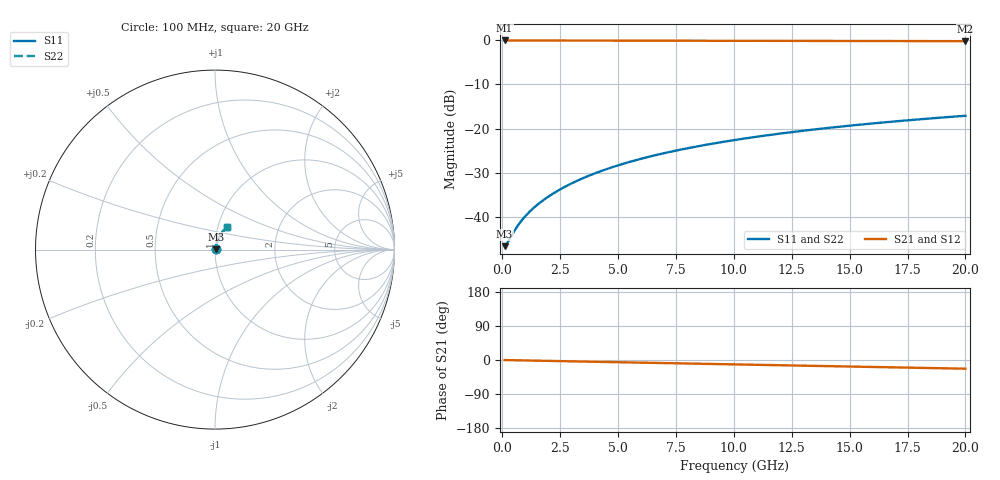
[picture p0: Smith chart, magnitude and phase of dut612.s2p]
! Touchstone file exported from HFSS 2026.1.0
!  File:  C:/ffzhzh/LocalFiles/Ansys_Project_Files/temp_train_BSMRDL_612_1783016256_55676.aedt
!  Generated:  02:18:53 AM Jul  3, 2026
!  Design:  BSMRDL
!  Project:  temp_train_BSMRDL_612_1783016256_55676
! Variables:
!  h_bsmrdl = 2.29um
!  h_ox = 20um
!  h_rdl = 5um
!  h_sub = 80um
!  h_tmrdl = 5um
!  h_tsv = 80um
!  h_via = 3um
!  l_bsmrdl = 379.03um
!  l_sub = 779.03um
!  l_tmrdl = 200um
!  m_sub = 200um
!  pitch = 20.04um
!  r_tsv = 6um
!  s_tmrdl = 10um
!  w_bsmrdl = 13.37um
!  w_sub = 500um
!  w_tmrdl = 12um
!  x_tsv_center1 = 206um
!  x_tsv_center2 = 598.4um
!  x_tsv_center3 = 810.4um
!  x_tsv_center4 = 1202.8um
!  x_tsv_center5 = 1414.8um
!  x_tsv_center6 = 1807.2um
# GHz S MA R 50.000000
! Terminal data exported
! Port[1] = BSM_RDL1_1_T1
! Port[2] = BSM_RDL1_1_T2
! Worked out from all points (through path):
!   200 points, 100 MHz to 20 GHz, reference 50 ohm
!   highest |S21| = -0.04 dB at 100 MHz (marker M1); lowest = -0.2 dB at 20 GHz (marker M2)
!   group delay of S21, straight-line fit = 3.18 ps
!   lowest |S11| = -46.6 dB at 100 MHz (marker M3), VSWR 1.01, Z = 50.5 + j0.0981 ohm
!   |S11| at or under -10 dB: start of sweep to end of sweep
!   |S22| runs from -46.6 to -17.1 dB; largest |S21 - S12| = 2.7e-15
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0.1  0.004691 12.0  0.9954 -0.1  0.9954 -0.1  0.004691 12.0
! Gamma 0 0 0 0
! Port Impedance 50 0 50 0
0.2  0.005036 22.5  0.9953 -0.3  0.9953 -0.3  0.005034 22.5
0.6  0.007513 46.3  0.9948 -0.8  0.9948 -0.8  0.007508 46.3
0.8  0.008912 51.8  0.9945 -1.0  0.9945 -1.0  0.008907 51.8
0.9  0.009607 53.9  0.9944 -1.1  0.9944 -1.1  0.009602 53.9
1.1  0.01098 57.2  0.9942 -1.3  0.9942 -1.3  0.01098 57.2
1.4  0.01302 60.9  0.9939 -1.7  0.9939 -1.7  0.01302 60.9
1.8  0.01575 64.5  0.9936 -2.2  0.9936 -2.2  0.01575 64.5
2.3  0.0192 67.6  0.9934 -2.7  0.9934 -2.7  0.0192 67.6
2.9  0.02341 70.1  0.9931 -3.4  0.9931 -3.4  0.02341 70.1
3.5  0.02769 71.6  0.9928 -4.1  0.9928 -4.1  0.02769 71.6
4.2  0.03272 72.7  0.9925 -4.9  0.9925 -4.9  0.03272 72.7
5  0.0385 73.3  0.9921 -5.9  0.9921 -5.9  0.0385 73.3
5.9  0.045 73.5  0.9915 -6.9  0.9915 -6.9  0.045 73.5
6.8  0.05149 73.4  0.9909 -8.0  0.9909 -8.0  0.05149 73.3
8.3  0.06222 72.6  0.9897 -9.7  0.9897 -9.7  0.06223 72.6
10.1  0.07492 71.3  0.9882 -11.8  0.9882 -11.8  0.07492 71.3
11.7  0.086 70.0  0.9866 -13.6  0.9866 -13.6  0.08601 69.9
13.4  0.09755 68.4  0.9848 -15.5  0.9848 -15.5  0.09756 68.3
15  0.1082 66.8  0.983 -17.3  0.983 -17.3  0.1082 66.8
16.7  0.1193 65.1  0.9811 -19.2  0.9811 -19.2  0.1193 65.1
20  0.14 61.8  0.977 -22.9  0.977 -22.9  0.14 61.7
